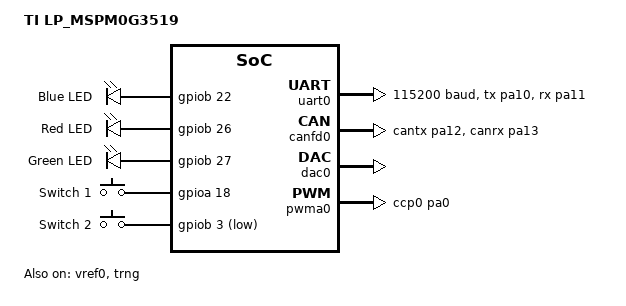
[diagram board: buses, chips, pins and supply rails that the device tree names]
/* SPDX-License-Identifier: Apache-2.0 */

/dts-v1/;

#include <arm/ti/mspm0/g/mspm0g3519.dtsi>
#include <ti/mspm0/g/mspm0gx51x-pinctrl.dtsi>
#include <zephyr/dt-bindings/clock/mspm0_clock.h>
#include <zephyr/dt-bindings/gpio/gpio.h>
#include <zephyr/dt-bindings/input/input-event-codes.h>
#include <zephyr/dt-bindings/pwm/pwm.h>

/ {
	model = "TI LP_MSPM0G3519";
	compatible = "ti,mspm0g3519";

	aliases {
		led0 = &led0;
		led1 = &led1;
		led2 = &led2;
		sw0 = &btn0;
		sw1 = &btn1;
		watchdog0 = &wdt0;
		watchdog1 = &wdt1;
	};

	chosen {
		zephyr,sram = &sram0;
		zephyr,flash = &flash0;
		zephyr,console = &uart0;
		zephyr,shell-uart = &uart0;
		zephyr,canbus = &canfd0;
		zephyr,entropy = &trng;
	};

	leds {
		compatible = "gpio-leds";

		led0: led_0 {
			gpios = <&gpiob 22 GPIO_ACTIVE_HIGH>;
			label = "Blue LED";
		};

		led1: led_1 {
			gpios = <&gpiob 26 GPIO_ACTIVE_HIGH>;
			label = "Red LED";
		};

		led2: led_2 {
			gpios = <&gpiob 27 GPIO_ACTIVE_HIGH>;
			label = "Green LED";
		};
	};

	keys {
		compatible = "gpio-keys";

		btn0: btn_0 {
			gpios = <&gpioa 18 GPIO_ACTIVE_HIGH>;
			label = "Switch 1";
			zephyr,code = <INPUT_KEY_0>;
		};

		btn1: btn_1 {
			gpios = <&gpiob 3 (GPIO_ACTIVE_LOW | GPIO_PULL_UP)>;
			label = "Switch 2";
			zephyr,code = <INPUT_KEY_1>;
		};
	};

	zephyr,user {
		dac = <&dac0>;
		dac-channel-id = <0>;
		dac-resolution = <12>;
	};
};

&cpu0 {
	clock-frequency = <DT_FREQ_M(80)>;
};

&ulpclk {
	clk-div = <2>;
};

&mclk {
	clock-frequency = <DT_FREQ_M(80)>;
	clocks = <&hsclk>;
};

&hsclk {
	clocks = <&syspll>;
	status = "okay";
};

&mfpclk {
	status = "okay";
};

&canclk {
	clocks = <&syspll>;
	status = "okay";
};

&hfxt {
	clock-frequency = <DT_FREQ_M(48)>;
	ti,xtal-startup-delay-us = <500>;
};

&lfxt {
	clock-frequency = <32768>;
	ti,xtal-startup-delay-us = <1000000>;
};

&pinctrl {
	status = "okay";
};

&gpioa {
	status = "okay";
};

&gpiob {
	status = "okay";
};

&uart0 {
	status = "okay";

	current-speed = <115200>;
	pinctrl-0 = <&uart0_tx_pa10 &uart0_rx_pa11>;
	pinctrl-names = "default";
};

&canfd0 {
	status = "okay";
	pinctrl-0 = <&canfd0_cantx_pa12 &canfd0_canrx_pa13>;
	pinctrl-names = "default";
};

&dac0 {
	status = "okay";
	fifo-enable;
	sample-rate-hz = <1000>;
};

&vref0 {
	status = "okay";
	pinctrl-0 = <&analog_pa23>;
	pinctrl-names = "default";
};

&trng {
	status = "okay";
};

&tima0 {
	ti,clk-div = <8>;
	ti,clk-prescaler = <255>;
};

&pwma0 {
	status = "okay";

	pinctrl-0 = <&tima0_ccp0_pa0>;
	pinctrl-names = "default";
	ti,cc-index = <0>;
	ti,pwm-mode = "EDGE_ALIGN";
	ti,period = <3906>; /* ~100 ms at 39,062 Hz */
};
